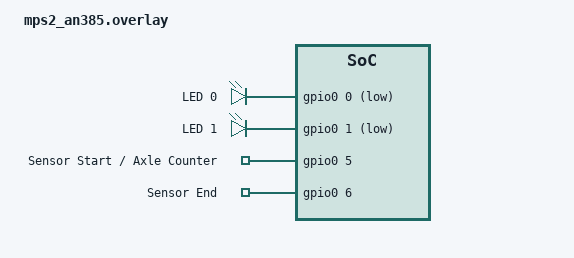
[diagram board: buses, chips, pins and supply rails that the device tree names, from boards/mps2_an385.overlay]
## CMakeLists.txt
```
# SPDX-License-Identifier: Apache-2.0

cmake_minimum_required(VERSION 3.20.0)
find_package(Zephyr REQUIRED HINTS $ENV{ZEPHYR_BASE})
project(atividades)

target_sources(app PRIVATE 
    src/main.c
    src/sensor_thread.c
    src/display_thread.c
    src/camera_thread.c
    src/traffic_sim.c
    src/utils.c
    src/infraction_log.c
)
```

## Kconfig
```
mainmenu "Radar Eletrônico com Classificação"

config RADAR_SENSOR_DISTANCE_MM
    int "Distance between sensors (mm)"
    default 5000
    help
      Distance between the two magnetic sensors in millimeters.

config RADAR_SPEED_LIMIT_LIGHT_KMH
    int "Speed limit for light vehicles (km/h)"
    default 60
    help
      Speed limit for vehicles classified as light.

config RADAR_SPEED_LIMIT_HEAVY_KMH
    int "Speed limit for heavy vehicles (km/h)"
    default 40
    help
      Speed limit for vehicles classified as heavy.

config RADAR_WARNING_THRESHOLD_PERCENT
    int "Warning threshold percentage"
    default 90
    range 0 100
    help
      Percentage of the speed limit that triggers a warning.

config RADAR_CAMERA_FAILURE_RATE_PERCENT
    int "Camera simulated failure rate (%)"
    default 10
    range 0 100
    help
      Probability of the simulated camera failing to read a plate.

config RADAR_QUEUE_DEPTH
	int "Message queue depth for radar queues"
	default 10
	range 1 128
	help
	  Number of messages buffered in sensor and display queues.

config RADAR_INFRACTION_LOG_SIZE
	int "Ring buffer size for infractions"
	default 32
	range 1 512
	help
	  Number of infraction records kept in memory.

config RADAR_AXLE_TIMEOUT_MS
	int "Axle counting timeout (ms)"
	default 2000
	range 100 10000
	help
	  Timeout after last axle pulse to finalize a measurement.

config RADAR_TELEMETRY_INTERVAL_MS
	int "Telemetry logging interval (ms)"
	default 10000
	range 500 600000
	help
	  Interval for periodic logging of counters and statistics.

source "Kconfig.zephyr"
```

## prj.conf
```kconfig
# General
CONFIG_LOG=y
CONFIG_LOG_MODE_IMMEDIATE=y
CONFIG_LOG_DEFAULT_LEVEL=3
CONFIG_MAIN_STACK_SIZE=4096
CONFIG_HEAP_MEM_POOL_SIZE=4096

# GPIO
CONFIG_GPIO=y

# Display
CONFIG_DISPLAY=y
CONFIG_DUMMY_DISPLAY=y

# ZBUS
CONFIG_ZBUS=y
CONFIG_ZBUS_LOG_LEVEL_INF=y
CONFIG_ZBUS_RUNTIME_OBSERVERS=y

# Random
CONFIG_TEST_RANDOM_GENERATOR=y

# Console/Printk
CONFIG_PRINTK=y
CONFIG_CBPRINTF_FP_SUPPORT=y

# Radar Project Configs
CONFIG_RADAR_SENSOR_DISTANCE_MM=5000
```

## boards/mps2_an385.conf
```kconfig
CONFIG_LOG=y
CONFIG_LOG_DEFAULT_LEVEL=3

# GPIO Configuration
CONFIG_GPIO=y

# Serial/Console (para debug)
CONFIG_CONSOLE=y
CONFIG_UART_CONSOLE=y
```

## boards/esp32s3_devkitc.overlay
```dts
/*
 * Overlay for ESP32-S3 DevKit C
 * 
 * Note: sw0 (BOOT button) is already defined in the base devicetree.
 * We only need to add led0 and configure PWM for LEDC.
 */

#include <zephyr/dt-bindings/gpio/gpio.h>

/ {
	aliases {
		led0 = &led0;
		/* sw0 already defined in base DTS as BOOT button (GPIO0) */
		pwm-led0 = &ledc0;
	};

	leds {
		compatible = "gpio-leds";
		led0: led_0 {
			gpios = <&gpio0 2 GPIO_ACTIVE_HIGH>;
			label = "User LED";
		};
	};
};

&ledc0 {
	status = "okay";
	channel0 {
		gpios = <&gpio0 2 GPIO_ACTIVE_HIGH>;
	};
};
```

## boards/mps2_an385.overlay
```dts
#include <zephyr/dt-bindings/gpio/gpio.h>

/ {
    aliases {
        led0 = &led0;
        led1 = &led1;
        sensor0 = &sensor_start;
        sensor1 = &sensor_end;
    };

    leds {
        compatible = "gpio-leds";
        led0: led0 {
            gpios = <&gpio0 0 GPIO_ACTIVE_LOW>;
            label = "LED 0";
        };
        led1: led1 {
            gpios = <&gpio0 1 GPIO_ACTIVE_LOW>;
            label = "LED 1";
        };
    };

    /* Simulating sensors as buttons/keys for easy testing via QEMU monitor or just as GPIO inputs */
    gpio_keys {
        compatible = "gpio-keys";
        sensor_start: sensor_start {
            gpios = <&gpio0 5 GPIO_ACTIVE_HIGH>;
            label = "Sensor Start / Axle Counter";
        };
        sensor_end: sensor_end {
            gpios = <&gpio0 6 GPIO_ACTIVE_HIGH>;
            label = "Sensor End";
        };
    };

    dummy_display: dummy_display {
        compatible = "zephyr,dummy-dc";
        status = "okay";
        height = <20>;
        width = <20>;
    };
};
```

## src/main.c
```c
#include <zephyr/kernel.h>
#include <zephyr/logging/log.h>
#include <zephyr/zbus/zbus.h>
#include <string.h>
#include <zephyr/sys/atomic.h>
#include "common.h"
#include "threads.h"
#include "infraction_log.h"

LOG_MODULE_REGISTER(main_control, LOG_LEVEL_INF);

K_MSGQ_DEFINE(sensor_msgq, sizeof(sensor_data_t), CONFIG_RADAR_QUEUE_DEPTH, 4); // Message Queue for Sensor Data
K_MSGQ_DEFINE(display_msgq, sizeof(display_data_t), CONFIG_RADAR_QUEUE_DEPTH, 4); // Message Queue for Display Data

// ZBUS Channels
ZBUS_CHAN_DEFINE(camera_trigger_chan, camera_trigger_t, NULL, NULL, ZBUS_OBSERVERS_EMPTY, ZBUS_MSG_INIT(0));
ZBUS_CHAN_DEFINE(camera_result_chan, camera_result_t, NULL, NULL, ZBUS_OBSERVERS_EMPTY, ZBUS_MSG_INIT(0));

// Thread Definitions
K_THREAD_DEFINE(sensor_tid, 2048, sensor_thread_entry, NULL, NULL, NULL, 7, 0, 0);
K_THREAD_DEFINE(display_tid, 2048, display_thread_entry, NULL, NULL, NULL, 7, 0, 0);
K_THREAD_DEFINE(camera_tid, 2048, camera_thread_entry, NULL, NULL, NULL, 7, 0, 0);

// Subscriber for Main Thread
ZBUS_SUBSCRIBER_DEFINE(main_camera_sub, 4);

// Telemetry counters
static atomic_t vehicle_light_count;
static atomic_t vehicle_heavy_count;
static atomic_t status_normal_count;
static atomic_t status_warning_count;
static atomic_t status_infraction_count;

/**
 * Main entry point for the telemetry thread.
 * @param p1 Pointer to the telemetry thread data.
 * @param p2 Pointer to the telemetry thread data.
 * @param p3 Pointer to the telemetry thread data.
 */
static void telemetry_thread_entry(void *p1, void *p2, void *p3)
{
	while (1) {
        // Get the telemetry counters
		k_msleep(CONFIG_RADAR_TELEMETRY_INTERVAL_MS);
		uint32_t light = (uint32_t)atomic_get(&vehicle_light_count);
		uint32_t heavy = (uint32_t)atomic_get(&vehicle_heavy_count);
		uint32_t normal = (uint32_t)atomic_get(&status_normal_count);
		uint32_t warn = (uint32_t)atomic_get(&status_warning_count);
		uint32_t infr = (uint32_t)atomic_get(&status_infraction_count);
		uint32_t inf_light = 0, inf_heavy = 0, valid_reads = 0, invalid_reads = 0;
		infraction_log_get_counters(&inf_light, &inf_heavy, &valid_reads, &invalid_reads);
		LOG_INF("Telemetry: Vehicles [Leve=%u, Pesado=%u] | Status [Normal=%u, Alerta=%u, Infracao=%u] | Camera [Validas=%u, Invalidas=%u]",
			light, heavy, normal, warn, infr, valid_reads, invalid_reads);
	}
}

K_THREAD_DEFINE(telemetry_tid, 1024, telemetry_thread_entry, NULL, NULL, NULL, 8, 0, 0);

typedef struct {
	bool active;
	int64_t timestamp_ms;
	uint32_t speed_kmh;
	uint32_t limit_kmh;
	vehicle_type_t type;
} pending_infraction_t;

// Pending infraction context
static pending_infraction_t pending_infraction_ctx;

int main(void) {
    LOG_INF("Radar System Initializing...");

	// Subscribe to the camera result channel
    zbus_chan_add_obs(&camera_result_chan, &main_camera_sub, K_FOREVER);

    sensor_data_t s_data;
    const struct zbus_channel *chan; // ZBUS channel for camera results

    while (1) {
        // Check for new sensor data
        if (k_msgq_get(&sensor_msgq, &s_data, K_NO_WAIT) == 0) {
            // Calculate Speed
            uint32_t distance_mm = CONFIG_RADAR_SENSOR_DISTANCE_MM;
            uint32_t speed_kmh = calculate_speed(distance_mm, s_data.duration_ms);


            // Determine Limit
            uint32_t limit = (s_data.type == VEHICLE_LIGHT) ? 
                             CONFIG_RADAR_SPEED_LIMIT_LIGHT_KMH : 
                             CONFIG_RADAR_SPEED_LIMIT_HEAVY_KMH;
            
            // Determine Status
            display_status_t status = STATUS_NORMAL;
            if (speed_kmh > limit) {
                status = STATUS_INFRACTION;
            } else {
                uint32_t warning_thr = (limit * CONFIG_RADAR_WARNING_THRESHOLD_PERCENT) / 100;
                if (speed_kmh >= warning_thr) {
                    status = STATUS_WARNING;
                }
            }

            LOG_INF("Speed Calc: %d km/h (Limit: %d). Status: %d", speed_kmh, limit, status);

            // Update Display
            display_data_t d_data;
            d_data.speed_kmh = speed_kmh;
            d_data.limit_kmh = limit;
            d_data.type = s_data.type;
            d_data.status = status;
            d_data.plate[0] = '\0';
            d_data.axle_count = s_data.axle_count;
            d_data.warning_kmh = (limit * CONFIG_RADAR_WARNING_THRESHOLD_PERCENT) / 100;

            // Update telemetry counters
            if (s_data.type == VEHICLE_LIGHT) {
                atomic_inc(&vehicle_light_count);
            } else if (s_data.type == VEHICLE_HEAVY) {
                atomic_inc(&vehicle_heavy_count);
            }
            switch (status) {
                case STATUS_NORMAL: atomic_inc(&status_normal_count); break;
                case STATUS_WARNING: atomic_inc(&status_warning_count); break;
                case STATUS_INFRACTION: atomic_inc(&status_infraction_count); break;
            }
            // Send the display data to the display queue
            {
                int put_ret = k_msgq_put(&display_msgq, &d_data, K_NO_WAIT);
                if (put_ret != 0) {
                    display_data_t dropped;
                    (void)k_msgq_get(&display_msgq, &dropped, K_NO_WAIT);
                    put_ret = k_msgq_put(&display_msgq, &d_data, K_NO_WAIT);
                    if (put_ret != 0) {
                        LOG_WRN("display_msgq full, dropping update");
                    }
                }
            }

            // Trigger Camera if Infraction
            if (status == STATUS_INFRACTION) {
                camera_trigger_t trig;
                trig.speed_kmh = speed_kmh;
                trig.type = s_data.type;
                /* Record pending infraction context */
                pending_infraction_ctx.active = true;
                pending_infraction_ctx.timestamp_ms = k_uptime_get();
                pending_infraction_ctx.speed_kmh = speed_kmh;
                pending_infraction_ctx.limit_kmh = limit;
                pending_infraction_ctx.type = s_data.type;
                int pub_ret = zbus_chan_pub(&camera_trigger_chan, &trig, K_NO_WAIT);
                if (pub_ret != 0) {
                    LOG_WRN("ZBUS publish to camera_trigger_chan failed: %d", pub_ret);
                }
            }
        }

        // Check for Camera Results
        if (zbus_sub_wait(&main_camera_sub, &chan, K_NO_WAIT) == 0) {
			// Check if the channel is the camera result channel
			if (chan == &camera_result_chan) {
                camera_result_t res;
				// Read the camera result
                zbus_chan_read(&camera_result_chan, &res, K_NO_WAIT);
                
                // Check if the plate is valid
                if (res.valid_read && validate_plate(res.plate)) {
                    LOG_INF("Valid Plate: %s. Infraction Recorded.", res.plate);
                    /* Store infraction record */
                    infraction_record_t rec = {
                        .timestamp_ms = pending_infraction_ctx.active ? pending_infraction_ctx.timestamp_ms : k_uptime_get(),
                        .type = pending_infraction_ctx.active ? pending_infraction_ctx.type : VEHICLE_UNKNOWN,
                        .speed_kmh = pending_infraction_ctx.active ? pending_infraction_ctx.speed_kmh : 0,
                        .limit_kmh = pending_infraction_ctx.active ? pending_infraction_ctx.limit_kmh : 0,
                        .valid_read = true
                    };
                    strncpy(rec.plate, res.plate, sizeof(rec.plate));
                    rec.plate[sizeof(rec.plate)-1] = '\0';
                    infraction_log_add(&rec);
                    /* Send plate info to display with context */
                    display_data_t d_data;
                    d_data.speed_kmh = pending_infraction_ctx.active ? pending_infraction_ctx.speed_kmh : 0; 
                    d_data.limit_kmh = pending_infraction_ctx.active ? pending_infraction_ctx.limit_kmh : 0;
                    d_data.type = pending_infraction_ctx.active ? pending_infraction_ctx.type : VEHICLE_UNKNOWN;
                    d_data.status = STATUS_INFRACTION;
                    d_data.axle_count = 0;
                    d_data.warning_kmh = (d_data.limit_kmh * CONFIG_RADAR_WARNING_THRESHOLD_PERCENT) / 100;
                    strncpy(d_data.plate, res.plate, sizeof(d_data.plate));
                    {
                        int put_ret = k_msgq_put(&display_msgq, &d_data, K_NO_WAIT);
                        if (put_ret != 0) {
                            display_data_t dropped;
                            (void)k_msgq_get(&display_msgq, &dropped, K_NO_WAIT);
                            put_ret = k_msgq_put(&display_msgq, &d_data, K_NO_WAIT);
                            if (put_ret != 0) {
                                LOG_WRN("display_msgq full, dropping update");
                            }
                        }
                    }
                    pending_infraction_ctx.active = false;

                } else {
                    LOG_WRN("Invalid Plate or Read Error");
                    /* Still store infraction record with invalid read */
                    infraction_record_t rec = {
                        .timestamp_ms = pending_infraction_ctx.active ? pending_infraction_ctx.timestamp_ms : k_uptime_get(),
                        .type = pending_infraction_ctx.active ? pending_infraction_ctx.type : VEHICLE_UNKNOWN,
                        .speed_kmh = pending_infraction_ctx.active ? pending_infraction_ctx.speed_kmh : 0,
                        .limit_kmh = pending_infraction_ctx.active ? pending_infraction_ctx.limit_kmh : 0,
                        .valid_read = false
                    };
                    rec.plate[0] = '\0';
                    infraction_log_add(&rec);
                    /* Also update display with known context (no plate) */
                    display_data_t d_data;
                    d_data.speed_kmh = pending_infraction_ctx.active ? pending_infraction_ctx.speed_kmh : 0; 
                    d_data.limit_kmh = pending_infraction_ctx.active ? pending_infraction_ctx.limit_kmh : 0;
                    d_data.type = pending_infraction_ctx.active ? pending_infraction_ctx.type : VEHICLE_UNKNOWN;
                    d_data.status = STATUS_INFRACTION;
                    d_data.axle_count = 0;
                    d_data.warning_kmh = (d_data.limit_kmh * CONFIG_RADAR_WARNING_THRESHOLD_PERCENT) / 100;
                    d_data.plate[0] = '\0';
                    {
                        int put_ret = k_msgq_put(&display_msgq, &d_data, K_NO_WAIT);
                        if (put_ret != 0) {
                            display_data_t dropped;
                            (void)k_msgq_get(&display_msgq, &dropped, K_NO_WAIT);
                            put_ret = k_msgq_put(&display_msgq, &d_data, K_NO_WAIT);
                            if (put_ret != 0) {
                                LOG_WRN("display_msgq full, dropping update");
                            }
                        }
                    }
                    pending_infraction_ctx.active = false;
                }
            }
        }

        k_msleep(10);
    }
    return 0;
}
```

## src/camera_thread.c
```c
#include <zephyr/kernel.h>
#include <zephyr/logging/log.h>
#include <zephyr/random/random.h>
#include <zephyr/sys/util.h>
#include <zephyr/zbus/zbus.h>
#include "common.h"

LOG_MODULE_REGISTER(camera_thread, LOG_LEVEL_INF);

ZBUS_SUBSCRIBER_DEFINE(camera_sub, 4);

/**
 * Generates a random Mercosul plate number.
 * @param buf The buffer to store the plate number.
 */
static void generate_plate(char *buf) {
    // Mercosul format: ABC1D23
    const char letters[] = "ABCDEFGHIJKLMNOPQRSTUVWXYZ";
    const char numbers[] = "0123456789";
#if IS_ENABLED(CONFIG_TEST)
    /* Deterministic RNG for tests */
    static uint32_t rng_state = 0x12345678u;
    static inline uint32_t rand32_local(void) {
        /* xorshift32 */
        uint32_t x = rng_state;
        x ^= x << 13;
        x ^= x >> 17;
        x ^= x << 5;
        rng_state = x;
        return x;
    }
#define RAND32() rand32_local()
#else
#define RAND32() sys_rand32_get()
#endif
    
    buf[0] = letters[RAND32() % 26];
    buf[1] = letters[RAND32() % 26];
    buf[2] = letters[RAND32() % 26];
    buf[3] = numbers[RAND32() % 10];
    buf[4] = letters[RAND32() % 26];
    buf[5] = numbers[RAND32() % 10];
    buf[6] = numbers[RAND32() % 10];
    buf[7] = '\0';
}

/**
 * Main entry point for the camera thread.
 * @param p1 Pointer to the camera thread data.
 * @param p2 Pointer to the camera thread data.
 * @param p3 Pointer to the camera thread data.
 */
void camera_thread_entry(void *p1, void *p2, void *p3) {
    const struct zbus_channel *chan;
    
    // Subscribe to the trigger channel
    zbus_chan_add_obs(&camera_trigger_chan, &camera_sub, K_FOREVER);

    LOG_INF("Camera System Ready");

    while (1) {
        // Wait for a trigger from the sensor thread
        if (zbus_sub_wait(&camera_sub, &chan, K_FOREVER) == 0) {
            if (chan == &camera_trigger_chan) {
                // Read the trigger data
                camera_trigger_t trigger;
                zbus_chan_read(&camera_trigger_chan, &trigger, K_NO_WAIT);
                
                LOG_INF("Camera Triggered! Processing...");
                
                // Simulate processing time
                k_msleep(500); 
                
                camera_result_t result;
                // Generate a random failure rate
                uint32_t failure_rate = CONFIG_RADAR_CAMERA_FAILURE_RATE_PERCENT;
                uint32_t chance = sys_rand32_get() % 100;
                
                // If the chance is less than the failure rate, the read failed
                if (chance < failure_rate) {
                    LOG_WRN("Camera simulation: Read Failed");
                    result.valid_read = false;
                    result.plate[0] = '\0';
                } else {
                    generate_plate(result.plate);
                    result.valid_read = true;
                    LOG_INF("Camera Result: %s", result.plate);
                }
                
                int pub_ret = zbus_chan_pub(&camera_result_chan, &result, K_NO_WAIT);
                if (pub_ret != 0) {
                    LOG_WRN("ZBUS publish to camera_result_chan failed: %d", pub_ret);
                }
            }
        }
    }
}
```

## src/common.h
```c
#ifndef COMMON_H
#define COMMON_H

#include <zephyr/kernel.h>
#include <zephyr/zbus/zbus.h>

// Vehicle Types
typedef enum {
    VEHICLE_LIGHT,
    VEHICLE_HEAVY,
    VEHICLE_UNKNOWN
} vehicle_type_t;

// Data from Sensor Thread to Main Thread
typedef struct {
    int64_t timestamp_start;
    int64_t timestamp_end;
    uint32_t duration_ms;
    uint32_t axle_count;
    vehicle_type_t type;
} sensor_data_t;

// Display Status
typedef enum {
    STATUS_NORMAL,
    STATUS_WARNING,
    STATUS_INFRACTION
} display_status_t;

// Data for Display
typedef struct {
    uint32_t speed_kmh;
    uint32_t limit_kmh;
    vehicle_type_t type;
    display_status_t status;
    char plate[10]; // Optional, for result display
    uint32_t axle_count; // For UX display
    uint32_t warning_kmh; // Threshold for yellow status
} display_data_t;

// ZBUS: Camera Trigger
typedef struct {
    uint32_t speed_kmh;
    vehicle_type_t type;
} camera_trigger_t;

// ZBUS: Camera Result
typedef struct {
    char plate[10];
    bool valid_read; // If the camera successfully read a plate
} camera_result_t;

// Channels
ZBUS_CHAN_DECLARE(camera_trigger_chan);
ZBUS_CHAN_DECLARE(camera_result_chan);

// Message Queues
extern struct k_msgq sensor_msgq;
extern struct k_msgq display_msgq;

// Helper functions
bool validate_plate(const char *plate);
uint32_t calculate_speed(uint32_t distance_mm, uint32_t duration_ms);

#endif
```

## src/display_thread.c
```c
#include <zephyr/kernel.h>
#include <zephyr/logging/log.h>
#include <zephyr/drivers/display.h>
#include "common.h"

LOG_MODULE_REGISTER(display_thread, LOG_LEVEL_INF);

#define ANSI_COLOR_RED     "\x1b[31m"
#define ANSI_COLOR_GREEN   "\x1b[32m"
#define ANSI_COLOR_YELLOW  "\x1b[33m"
#define ANSI_COLOR_RESET   "\x1b[0m"

/**
 * Main entry point for the display thread.
 * @param p1 Pointer to the display thread data.
 * @param p2 Pointer to the display thread data.
 * @param p3 Pointer to the display thread data.
 */
void display_thread_entry(void *p1, void *p2, void *p3) {
    const struct device *display_dev = DEVICE_DT_GET(DT_NODELABEL(dummy_display));

    // Check if the display device is ready
    if (!device_is_ready(display_dev)) {
        LOG_WRN("Dummy Display not ready, proceeding with console only");
    } else {
        LOG_INF("Dummy Display Initialized");
        display_blanking_off(display_dev);
    }

    // Initialize the display data
    display_data_t data;

    while (1) {
        // Wait for a message from the display queue
        if (k_msgq_get(&display_msgq, &data, K_FOREVER) == 0) {
            const char *color = ANSI_COLOR_RESET;
            const char *status_str = "UNKNOWN";

            // Determine the color and status string based on the status
            switch (data.status) {
                case STATUS_NORMAL:
                    color = ANSI_COLOR_GREEN;
                    status_str = "NORMAL";
                    break;
                case STATUS_WARNING:
                    color = ANSI_COLOR_YELLOW;
                    status_str = "WARNING";
                    break;
                case STATUS_INFRACTION:
                    color = ANSI_COLOR_RED;
                    status_str = "INFRACTION";
                    break;
            }

            // Print the display data to the console
            printk("\n%s========================================%s\n", color, ANSI_COLOR_RESET);
            printk("%s RADAR STATUS: %s %s\n", color, status_str, ANSI_COLOR_RESET);
            if (data.limit_kmh > 0) {
                printk(" Velocidade: %d km/h\n", data.speed_kmh);
                printk(" Limite: %d km/h (Alerta \xE2\x89\xA5 %d km/h)\n", data.limit_kmh, data.warning_kmh);
            } else {
                printk(" Velocidade: %d km/h\n", data.speed_kmh);
                printk(" Limite: %d km/h\n", data.limit_kmh);
            }
            {
                const char *tipo = "Desconhecido";
                switch (data.type) {
                    case VEHICLE_LIGHT: tipo = "Leve"; break;
                    case VEHICLE_HEAVY: tipo = "Pesado"; break;
                    case VEHICLE_UNKNOWN: default: tipo = "Desconhecido"; break;
                }
                printk(" Veiculo: %s", tipo);
            }
            if (data.axle_count > 0) {
                printk(" (Eixos: %d)", data.axle_count);
            }
            printk("\n");
            
            // If the plate is not empty, print the plate
            if (data.plate[0] != '\0') {
                printk(" Placa: %s\n", data.plate);
            }
            // Print the end of the display data
            printk("%s========================================%s\n\n", color, ANSI_COLOR_RESET);
        }
    }
}
```

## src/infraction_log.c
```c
#include "infraction_log.h"
#include <string.h>

#ifndef CONFIG_RADAR_INFRACTION_LOG_SIZE
#define CONFIG_RADAR_INFRACTION_LOG_SIZE 32
#endif

static infraction_record_t records[CONFIG_RADAR_INFRACTION_LOG_SIZE];
static size_t head_index;
static size_t total_count;
static uint32_t count_light;
static uint32_t count_heavy;
static uint32_t count_valid_read;
static uint32_t count_invalid_read;
static struct k_spinlock log_lock;

/**
 * Adds an infraction record to the log.
 * @param record The infraction record to add.
 */
void infraction_log_add(const infraction_record_t *record)
{
	k_spinlock_key_t key = k_spin_lock(&log_lock);

	records[head_index] = *record;
	head_index = (head_index + 1) % CONFIG_RADAR_INFRACTION_LOG_SIZE;
	if (total_count < CONFIG_RADAR_INFRACTION_LOG_SIZE) {
		total_count++;
	}

	if (record->type == VEHICLE_HEAVY) {
		count_heavy++;
	} else if (record->type == VEHICLE_LIGHT) {
		count_light++;
	}
	if (record->valid_read) {
		count_valid_read++;
	} else {
		count_invalid_read++;
	}

	k_spin_unlock(&log_lock, key);
}

/**
 * Gets the most recent infraction records from the log.
 * @param max_records The maximum number of records to get.
 * @param out_records The array to store the records.
 * @return The number of records copied.
 */
size_t infraction_log_get_recent(size_t max_records, infraction_record_t *out_records)
{
	if (max_records == 0 || out_records == NULL) {
		return 0;
	}

	k_spinlock_key_t key = k_spin_lock(&log_lock);

	size_t available = total_count;
	if (available > CONFIG_RADAR_INFRACTION_LOG_SIZE) {
		available = CONFIG_RADAR_INFRACTION_LOG_SIZE;
	}
	size_t to_copy = (max_records < available) ? max_records : available;

	/* Copy from newest to oldest into out_records[0..to_copy-1] */
	for (size_t i = 0; i < to_copy; i++) {
		/* Newest element is at (head_index - 1 + size) % size */
		size_t idx = (head_index + CONFIG_RADAR_INFRACTION_LOG_SIZE - 1 - i) % CONFIG_RADAR_INFRACTION_LOG_SIZE;
		out_records[i] = records[idx];
	}

	k_spin_unlock(&log_lock, key);
	return to_copy;
}

/**
 * Gets the counters for the infraction log.
 * @param light_count The count of light vehicles.
 * @param heavy_count Pointer to the count of heavy vehicles.
 * @param valid_reads Pointer to the count of valid reads.
 * @param invalid_reads Pointer to the count of invalid reads.
 */
void infraction_log_get_counters(uint32_t *light_count, uint32_t *heavy_count, uint32_t *valid_reads, uint32_t *invalid_reads)
{
	k_spinlock_key_t key = k_spin_lock(&log_lock);
	if (light_count) {
		*light_count = count_light;
	}
	if (heavy_count) {
		*heavy_count = count_heavy;
	}
	if (valid_reads) {
		*valid_reads = count_valid_read;
	}
	if (invalid_reads) {
		*invalid_reads = count_invalid_read;
	}
	k_spin_unlock(&log_lock, key);
}
```

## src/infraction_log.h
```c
#ifndef INFRACTION_LOG_H
#define INFRACTION_LOG_H

#include <zephyr/kernel.h>
#include "common.h"

typedef struct {
	int64_t timestamp_ms;
	vehicle_type_t type;
	uint32_t speed_kmh;
	uint32_t limit_kmh;
	bool valid_read;
	char plate[10];
} infraction_record_t;

void infraction_log_add(const infraction_record_t *record);
size_t infraction_log_get_recent(size_t max_records, infraction_record_t *out_records);

void infraction_log_get_counters(uint32_t *light_count, uint32_t *heavy_count, uint32_t *valid_reads, uint32_t *invalid_reads);

#endif
```

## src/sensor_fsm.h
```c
#ifndef SENSOR_FSM_H
#define SENSOR_FSM_H

#include <zephyr/kernel.h>
#include "common.h"

typedef enum {
	SENSOR_IDLE,
	SENSOR_ACTIVE
} sensor_state_t;

typedef struct {
	sensor_state_t state;
	int64_t start_time;
	int64_t end_time;
	uint32_t axle_count;
	bool speed_measured;
} sensor_fsm_t;

/**
 * Classifies the vehicle type based on the number of axles.
 * @param axle_count The number of axles.
 * @return The vehicle type.
 */
static inline vehicle_type_t classify_axles(uint32_t axle_count)
{
	return (axle_count <= 2) ? VEHICLE_LIGHT : VEHICLE_HEAVY;
}

/**
 * Initializes the sensor FSM.
 * @param fsm Pointer to the sensor FSM.
 */
static inline void sensor_fsm_init(sensor_fsm_t *fsm)
{
	fsm->state = SENSOR_IDLE;
	fsm->start_time = 0;
	fsm->end_time = 0;
	fsm->axle_count = 0;
	fsm->speed_measured = false;
}

/**
 * Handles the start of a sensor measurement.
 * @param fsm Pointer to the sensor FSM.
 * @param timestamp_ms The timestamp of the start of the measurement.
 */
static inline void sensor_fsm_handle_start(sensor_fsm_t *fsm, int64_t timestamp_ms)
{
	// If the sensor is idle, set the sensor to active and set the start time, end time, axle count, and speed measured flag
	if (fsm->state == SENSOR_IDLE) {
		fsm->state = SENSOR_ACTIVE;
		fsm->start_time = timestamp_ms;
		fsm->end_time = 0;
		fsm->axle_count = 1;
		fsm->speed_measured = false;
	} else {
		fsm->axle_count++;
	}
}

/**
 * Handles the end of a sensor measurement.
 * @param fsm Pointer to the sensor FSM.
 * @param timestamp_ms The timestamp of the end of the measurement.
 */
static inline void sensor_fsm_handle_end(sensor_fsm_t *fsm, int64_t timestamp_ms)
{
	// If the sensor is active and the speed has not been measured, set the end time and the speed measured flag
	if (fsm->state == SENSOR_ACTIVE && !fsm->speed_measured) {
		fsm->end_time = timestamp_ms;
		fsm->speed_measured = true;
	}
}

/**
 * Finalizes the sensor measurement.
 * @param fsm Pointer to the sensor FSM.
 * @param out_data Pointer to the sensor data.
 * @return True if the measurement was finalized, false otherwise.
 */
static inline bool sensor_fsm_finalize(sensor_fsm_t *fsm, sensor_data_t *out_data)
{

	if (fsm->state != SENSOR_ACTIVE) {
		return false;
	}

	bool produced = false;
	// If the speed has been measured and the end time is greater than the start time, 
	// set the sensor data
	if (fsm->speed_measured && fsm->end_time > fsm->start_time) {
		out_data->timestamp_start = fsm->start_time;
		out_data->timestamp_end = fsm->end_time;
		out_data->duration_ms = (uint32_t)(fsm->end_time - fsm->start_time);
		out_data->axle_count = fsm->axle_count;
		out_data->type = classify_axles(fsm->axle_count);
		produced = true;
	}

	/* Reset to idle regardless, end of measurement window */
	fsm->state = SENSOR_IDLE;
	fsm->start_time = 0;
	fsm->end_time = 0;
	fsm->axle_count = 0;
	fsm->speed_measured = false;
	return produced;
}

#endif
```

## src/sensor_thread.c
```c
#include <zephyr/kernel.h>
#include <zephyr/drivers/gpio.h>
#include <zephyr/logging/log.h>
#include "common.h"
#include "sensor_fsm.h"

LOG_MODULE_REGISTER(sensor_thread, LOG_LEVEL_INF);

// Get GPIOs from aliases
static const struct gpio_dt_spec sensor_start_spec = GPIO_DT_SPEC_GET(DT_ALIAS(sensor0), gpios);
static const struct gpio_dt_spec sensor_end_spec = GPIO_DT_SPEC_GET(DT_ALIAS(sensor1), gpios);

// FSM + lock
static sensor_fsm_t fsm;
static struct k_spinlock fsm_lock;

// Timer for Axle Counting Timeout
static struct k_timer axle_timer;
/**
 * Timer expiry callback for the axle counting timeout.
 * @param timer_id Pointer to the timer.
 */
static void axle_timer_expiry(struct k_timer *timer_id);

// GPIO Callbacks
static struct gpio_callback start_cb_data;
static struct gpio_callback end_cb_data;

/**
 * Start interrupt service routine for the sensor.
 * @param dev Pointer to the device.
 * @param cb Pointer to the callback.
 * @param pins Pins that triggered the interrupt.
 */
static void start_isr(const struct device *dev, struct gpio_callback *cb, uint32_t pins) {
    int64_t now = k_uptime_get();
    k_spinlock_key_t key = k_spin_lock(&fsm_lock);
    sensor_fsm_handle_start(&fsm, now);
    k_spin_unlock(&fsm_lock, key);
    // Start or refresh timeout timer (configurable)
    k_timer_start(&axle_timer, K_MSEC(CONFIG_RADAR_AXLE_TIMEOUT_MS), K_NO_WAIT);
}

/**
 * End interrupt service routine for the sensor.
 * @param dev Pointer to the device.
 * @param cb Pointer to the callback.
 * @param pins Pins that triggered the interrupt.
 */
static void end_isr(const struct device *dev, struct gpio_callback *cb, uint32_t pins) {
    int64_t now = k_uptime_get();
    k_spinlock_key_t key = k_spin_lock(&fsm_lock);
    sensor_fsm_handle_end(&fsm, now);
    k_spin_unlock(&fsm_lock, key);
}

/**
 * Timer expiry callback for the axle counting timeout.
 * @param timer_id Pointer to the timer.
 */
static void axle_timer_expiry(struct k_timer *timer_id) {
    // Timeout reached, check if we can finalize a measurement
    sensor_data_t data;
    bool produced = false;
    k_spinlock_key_t key = k_spin_lock(&fsm_lock);
    produced = sensor_fsm_finalize(&fsm, &data);
    k_spin_unlock(&fsm_lock, key);

    if (produced) {
        LOG_INF("Vehicle Detected: Axles=%d, Time=%d ms, Type=%s", 
                data.axle_count, data.duration_ms, 
                data.type == VEHICLE_LIGHT ? "Light" : "Heavy");
        int ret = k_msgq_put(&sensor_msgq, &data, K_NO_WAIT);
        if (ret != 0) {
            /* Drop oldest and retry once */
            sensor_data_t dropped;
            (void)k_msgq_get(&sensor_msgq, &dropped, K_NO_WAIT);
            ret = k_msgq_put(&sensor_msgq, &data, K_NO_WAIT);
            if (ret != 0) {
                LOG_WRN("sensor_msgq full, dropping measurement");
            }
        }
    } else {
        LOG_WRN("Measurement window ended without valid timing. Ignored.");
    }
}

/**
 * Main entry point for the sensor thread.
 * @param p1 Pointer to the sensor thread data.
 * @param p2 Pointer to the sensor thread data.
 * @param p3 Pointer to the sensor thread data.
 */
void sensor_thread_entry(void *p1, void *p2, void *p3) {
    int ret;

    sensor_fsm_init(&fsm);

    // Check if the start sensor is ready
    if (!gpio_is_ready_dt(&sensor_start_spec)) {
        LOG_ERR("Sensor Start GPIO not ready");
        return;
    }

    // Check if the end sensor is ready
    if (!gpio_is_ready_dt(&sensor_end_spec)) {
        LOG_ERR("Sensor End GPIO not ready");
        return;
    }

    // Configure the start sensor as input
    ret = gpio_pin_configure_dt(&sensor_start_spec, GPIO_INPUT);
    if (ret < 0) {
        LOG_ERR("Error configuring sensor start: %d", ret);
        return;
    }

    // Configure the end sensor as input
    ret = gpio_pin_configure_dt(&sensor_end_spec, GPIO_INPUT);
    if (ret < 0) {
        LOG_ERR("Error configuring sensor end: %d", ret);
        return;
    }

    // Configure the start sensor as interrupt
    ret = gpio_pin_interrupt_configure_dt(&sensor_start_spec, GPIO_INT_EDGE_RISING);
    if (ret < 0) {
        LOG_ERR("Error configuring interrupt start: %d", ret);
        return;
    }

    // Configure the end sensor as interrupt
    ret = gpio_pin_interrupt_configure_dt(&sensor_end_spec, GPIO_INT_EDGE_RISING);
    if (ret < 0) {
        LOG_ERR("Error configuring interrupt end: %d", ret);
        return;
    }

    // Initialize the start callback
    gpio_init_callback(&start_cb_data, start_isr, BIT(sensor_start_spec.pin));
    gpio_add_callback(sensor_start_spec.port, &start_cb_data);

    // Initialize the end callback
    gpio_init_callback(&end_cb_data, end_isr, BIT(sensor_end_spec.pin));
    gpio_add_callback(sensor_end_spec.port, &end_cb_data);
    
    k_timer_init(&axle_timer, axle_timer_expiry, NULL);

    // Initialize the axle timer
    LOG_INF("Sensor Thread Initialized");

    // Keep thread alive
    while (1) {
        k_sleep(K_FOREVER);
    }
}
```

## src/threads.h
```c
#ifndef THREADS_H
#define THREADS_H

void sensor_thread_entry(void *p1, void *p2, void *p3);
void display_thread_entry(void *p1, void *p2, void *p3);
void camera_thread_entry(void *p1, void *p2, void *p3);

#endif
```

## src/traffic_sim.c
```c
#include <zephyr/kernel.h>
#include <zephyr/logging/log.h>
#include <zephyr/drivers/gpio.h>

LOG_MODULE_REGISTER(traffic_sim, LOG_LEVEL_INF);

// Get GPIOs (same as sensor thread, but we will try to configure them to trigger logic or just logs)
// NOTE: On real hardware, we can't drive an INPUT pin high internally without loopback.
// Since we want to verify the logic without rewiring the whole sensor_thread to use software events,
// we will use a trick: We will re-open the pins and toggle them if possible, 
// OR simpler: We will just emit log messages saying "Simulating Car..." 
// and manually inject messages into the queues to demonstrate the REST of the system (Main -> Display -> Camera).
//
// HOWEVER, to test the Sensor Thread logic itself, we really need GPIO interrupts.
// On QEMU MPS2, we can't easily inject GPIO interrupts from software unless we use the QEMU Monitor.
//
// ALTERNATIVE: We will inject messages directly into 'sensor_msgq' to simulate the OUTPUT of the sensor thread.
// This verifies Main Logic, Classification, Display, and Camera.

#include "common.h"

void traffic_sim_thread_entry(void *p1, void *p2, void *p3) {
    LOG_INF("Traffic Simulator Started (Auto-generating vehicles every 5s)");

    k_sleep(K_SECONDS(2)); // Wait for system to settle

    while (1) {
        sensor_data_t s_data;

        // 1. Simulate a Light Vehicle (Normal Speed)
        // Distance 5m, Speed 50km/h
        // Time = Dist / Speed = 0.005 km / 50 km/h = 0.0001 h = 0.36 s = 360ms
        s_data.timestamp_start = k_uptime_get();
        s_data.duration_ms = 360; 
        s_data.timestamp_end = s_data.timestamp_start + 360;
        s_data.axle_count = 2;
        s_data.type = VEHICLE_LIGHT;
        
        LOG_INF("SIMULATION: Generating Light Vehicle (50 km/h)");
        k_msgq_put(&sensor_msgq, &s_data, K_NO_WAIT);
        
        k_sleep(K_SECONDS(5));

        // 2. Simulate a Heavy Vehicle (Infraction)
        // Limit is 40 km/h. Let's go 50 km/h.
        // Time = 360ms (same speed as above, but for heavy it's a violation)
        s_data.timestamp_start = k_uptime_get();
        s_data.duration_ms = 360; 
        s_data.timestamp_end = s_data.timestamp_start + 360;
        s_data.axle_count = 3;
        s_data.type = VEHICLE_HEAVY;

        LOG_INF("SIMULATION: Generating Heavy Vehicle (50 km/h - Infraction!)");
        k_msgq_put(&sensor_msgq, &s_data, K_NO_WAIT);

        k_sleep(K_SECONDS(5));
        
        // 3. Simulate High Speed Light Vehicle (Infraction)
        // 80 km/h. Time = 225ms
        s_data.timestamp_start = k_uptime_get();
        s_data.duration_ms = 225; 
        s_data.timestamp_end = s_data.timestamp_start + 225;
        s_data.axle_count = 2;
        s_data.type = VEHICLE_LIGHT;

        LOG_INF("SIMULATION: Generating Light Vehicle (80 km/h - Infraction!)");
        k_msgq_put(&sensor_msgq, &s_data, K_NO_WAIT);
        
        k_sleep(K_SECONDS(5));
    }
}

K_THREAD_DEFINE(traffic_sim_tid, 1024, traffic_sim_thread_entry, NULL, NULL, NULL, 8, 0, 0);
```

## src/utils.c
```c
#include <zephyr/kernel.h>
#include <string.h>
#include "common.h"

/**
 * Converts a character to uppercase.
 * @param c The character to convert.
 * @return The uppercase character.
 */
static inline char util_to_upper_char(char c) {
	if (c >= 'a' && c <= 'z') return (char)(c - 'a' + 'A');
	return c;
}

/**
 * Checks if a character is a letter.
 * @param c The character to check.
 * @return True if the character is a letter, false otherwise.
 */
static inline bool util_is_letter(char c) {
	char u = util_to_upper_char(c);
	return (u >= 'A' && u <= 'Z');
}

/**
 * Checks if a character is a digit.
 * @param c The character to check.
 * @return True if the character is a digit, false otherwise.
 */
static inline bool util_is_digit(char c) {
	return (c >= '0' && c <= '9');
}

/**
 * Validates a Mercosul plate number.
 * @param plate The plate number to validate.
 * @return True if the plate number is valid, false otherwise.
 */
bool validate_plate(const char *plate) {
	if (strlen(plate) != 7) return false;
	// Check LLL
	for (int i = 0; i < 3; i++) if (!util_is_letter(plate[i])) return false;
	// Check N
	if (!util_is_digit(plate[3])) return false;
	// Check L
	if (!util_is_letter(plate[4])) return false;
	// Check NN
	for (int i = 5; i < 7; i++) if (!util_is_digit(plate[i])) return false;
	return true;
}


/**
 * Calculates the speed in km/h based on the distance and duration.
 * @param distance_mm The distance in millimeters.
 * @param duration_ms The duration in milliseconds.
 * @return The speed in km/h.
 */
uint32_t calculate_speed(uint32_t distance_mm, uint32_t duration_ms) {
    if (duration_ms == 0) return 0;
    // Speed (km/h) = (dist_mm / time_ms) * 3.6
    // = (dist * 36) / (time * 10)
    return (uint32_t)(((uint64_t)distance_mm * 36) / (duration_ms * 10));
}
```
